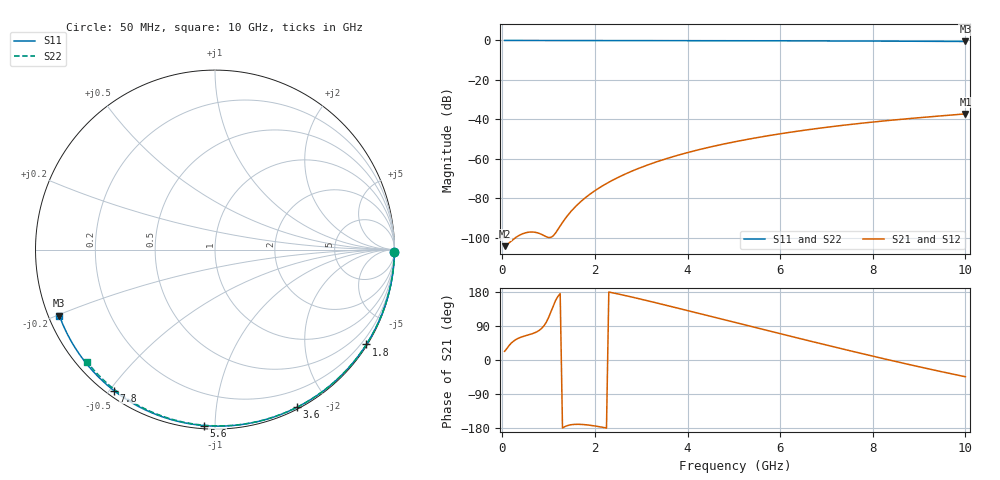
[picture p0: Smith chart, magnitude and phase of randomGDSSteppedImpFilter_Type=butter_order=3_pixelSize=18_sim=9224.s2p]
! freq	dB(S11)	phase(S11)	dB(S12)	phase(S12)
!  dB(S21)	phase(S21)	dB(S22)	phase(S22)
!S-par simulation data
#  GHz  S  DB  R 50
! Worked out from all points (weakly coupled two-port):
!   200 points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, 50 MHz to 10 GHz, reference 50 ohm
!   highest |S21| = -37.27 dB at 10 GHz (marker M1); lowest = -104.4 dB at 50 MHz (marker M2)
!   lowest |S11| = -0.5 dB at 10 GHz (marker M3), VSWR 33.58, Z = 1.55 - j10.2 ohm
!   |S11| at or under -10 dB: nowhere
!   |S22| runs from -0.5 to 0.0 dB; largest |S21 - S12| = 0
!   S11 on the Smith chart (normalised r, x): 50 MHz: open; 1.8 GHz: 0.03, -3.48; 3.6 GHz: 0.02, -1.65; 5.6 GHz: 0.02, -0.94; 7.8 GHz: 0.02, -0.51; 10 GHz: 0.03, -0.20
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0.05  -0.00 -0.9  -104.39 23.0  -104.39 23.0  -0.00 -0.8
0.45  -0.01 -8.1  -98.00 62.2  -98.00 62.2  -0.01 -7.2
0.85  -0.02 -15.3  -98.42 83.5  -98.42 83.5  -0.02 -13.6
1.3  -0.03 -23.3  -92.38 -179.5  -92.38 -179.5  -0.03 -20.6
1.75  -0.04 -31.2  -80.65 -170.3  -80.65 -170.3  -0.04 -27.7
1.8  -0.04 -32.1  -79.69 -170.9  -79.69 -170.9  -0.04 -28.4
2.1  -0.05 -37.3  -74.70 -176.1  -74.70 -176.1  -0.04 -33.1
2.3  -0.05 -40.7  -71.94 179.3  -71.94 179.3  -0.05 -36.1
2.5  -0.06 -44.1  -69.50 174.3  -69.50 174.3  -0.05 -39.2
2.9  -0.07 -50.9  -65.32 163.2  -65.32 163.2  -0.06 -45.2
3.4  -0.08 -59.2  -61.06 148.6  -61.06 148.6  -0.07 -52.6
3.6  -0.08 -62.5  -59.58 142.6  -59.58 142.6  -0.07 -55.5
4.3  -0.11 -73.7  -55.11 121.2  -55.11 121.2  -0.09 -65.6
5.05  -0.13 -85.4  -51.27 98.3  -51.27 98.3  -0.12 -76.0
5.6  -0.16 -93.7  -48.90 81.5  -48.90 81.5  -0.14 -83.5
6.15  -0.18 -101.9  -46.82 64.9  -46.82 64.9  -0.16 -90.8
6.7  -0.22 -109.9  -44.98 48.4  -44.98 48.4  -0.19 -97.9
7.25  -0.25 -117.8  -43.34 32.0  -43.34 32.0  -0.22 -104.9
7.8  -0.30 -125.6  -41.89 15.9  -41.89 15.9  -0.26 -111.8
8.35  -0.34 -133.4  -40.58 0.2  -40.58 0.2  -0.30 -118.6
9.2  -0.43 -145.5  -38.80 -23.3  -38.80 -23.3  -0.38 -128.9
10  -0.52 -157.0  -37.27 -44.2  -37.27 -44.2  -0.46 -138.6
